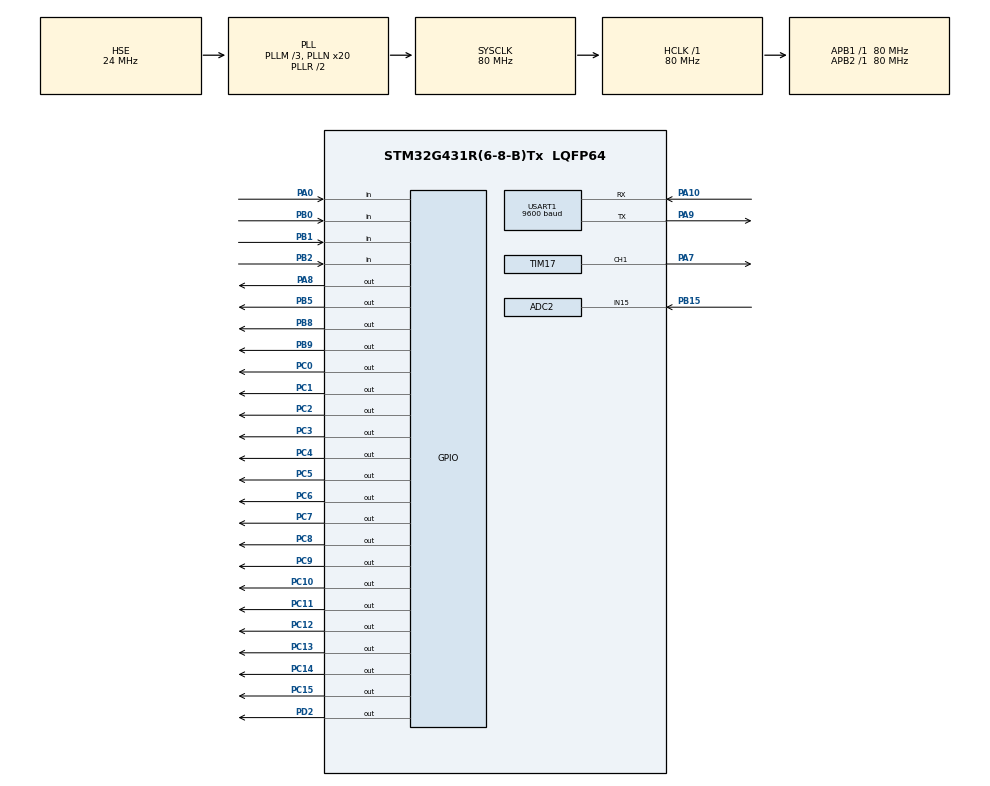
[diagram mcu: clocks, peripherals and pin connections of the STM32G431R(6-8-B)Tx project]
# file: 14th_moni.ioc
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ADC2.Channel-0\#ChannelRegularConversion=ADC_CHANNEL_15
ADC2.NbrOfConversionFlag=1
ADC2.OffsetNumber-0\#ChannelRegularConversion=ADC_OFFSET_NONE
ADC2.Rank-0\#ChannelRegularConversion=1
ADC2.SamplingTime-0\#ChannelRegularConversion=ADC_SAMPLETIME_2CYCLES_5
Mcu.Family=STM32G4
Mcu.Name=STM32G431R(6-8-B)Tx
Mcu.Package=LQFP64
NVIC.PriorityGroup=NVIC_PRIORITYGROUP_4
NVIC.TIM4_IRQn=true\:0\:0\:false\:false\:true\:true\:true\:true
NVIC.USART1_IRQn=true\:0\:0\:false\:false\:true\:true\:true\:true
PA0.GPIO_PuPd=GPIO_PULLUP
PA0.Signal=GPIO_Input
PA10.Mode=Asynchronous
PA10.Signal=USART1_RX
PA13.Mode=Serial_Wire
PA13.Signal=SYS_JTMS-SWDIO
PA14.Mode=Serial_Wire
PA14.Signal=SYS_JTCK-SWCLK
PA7.Signal=S_TIM17_CH1
PA8.Signal=GPIO_Output
PA9.Mode=Asynchronous
PA9.Signal=USART1_TX
PB0.GPIO_PuPd=GPIO_PULLUP
PB0.Signal=GPIO_Input
PB1.GPIO_PuPd=GPIO_PULLUP
PB1.Signal=GPIO_Input
PB15.Mode=IN15-Single-Ended
PB15.Signal=ADC2_IN15
PB2.GPIO_PuPd=GPIO_PULLUP
PB2.Signal=GPIO_Input
PB5.Signal=GPIO_Output
PB8-BOOT0.Signal=GPIO_Output
PB9.Signal=GPIO_Output
PC0.Signal=GPIO_Output
PC1.Signal=GPIO_Output
PC10.PinState=GPIO_PIN_SET
PC10.Signal=GPIO_Output
PC11.PinState=GPIO_PIN_SET
PC11.Signal=GPIO_Output
PC12.PinState=GPIO_PIN_SET
PC12.Signal=GPIO_Output
PC13.PinState=GPIO_PIN_SET
PC13.Signal=GPIO_Output
PC14-OSC32_IN.PinState=GPIO_PIN_SET
PC14-OSC32_IN.Signal=GPIO_Output
PC15-OSC32_OUT.PinState=GPIO_PIN_SET
PC15-OSC32_OUT.Signal=GPIO_Output
PC2.Signal=GPIO_Output
PC3.Signal=GPIO_Output
PC4.Signal=GPIO_Output
PC5.Signal=GPIO_Output
PC6.Signal=GPIO_Output
PC7.Signal=GPIO_Output
PC8.PinState=GPIO_PIN_SET
PC8.Signal=GPIO_Output
PC9.PinState=GPIO_PIN_SET
PC9.Signal=GPIO_Output
PD2.Signal=GPIO_Output
PF0-OSC_IN.Mode=HSE-External-Oscillator
PF0-OSC_IN.Signal=RCC_OSC_IN
PF1-OSC_OUT.Mode=HSE-External-Oscillator
PF1-OSC_OUT.Signal=RCC_OSC_OUT
ProjectManager.HeapSize=0x200
ProjectManager.StackSize=0x400
ProjectManager.TargetToolchain=MDK-ARM V5.32
RCC.ADC12Freq_Value=80000000
RCC.AHBFreq_Value=80000000
RCC.APB1Freq_Value=80000000
RCC.APB1TimFreq_Value=80000000
RCC.APB2Freq_Value=80000000
RCC.APB2TimFreq_Value=80000000
RCC.CortexFreq_Value=80000000
RCC.EXTERNAL_CLOCK_VALUE=12288000
RCC.HCLKFreq_Value=80000000
RCC.HSE_VALUE=24000000
RCC.HSI48_VALUE=48000000
RCC.HSI_VALUE=16000000
RCC.LSE_VALUE=32768
RCC.PLLM=RCC_PLLM_DIV3
RCC.PLLN=20
RCC.PLLSourceVirtual=RCC_PLLSOURCE_HSE
RCC.SYSCLKFreq_VALUE=80000000
RCC.SYSCLKSource=RCC_SYSCLKSOURCE_PLLCLK
RCC.USBFreq_Value=80000000
RCC.VCOOutputFreq_Value=160000000
SH.S_TIM17_CH1.0=TIM17_CH1,PWM Generation1 CH1
TIM17.Channel=TIM_CHANNEL_1
TIM17.PeriodNoDither=100-1
TIM17.Prescaler=800-1
TIM17.PulseNoDither_1=10
TIM4.PeriodNoDither=10000-1
TIM4.Prescaler=80-1
USART1.BaudRate=9600
USART1.VirtualMode-Asynchronous=VM_ASYNC
VP_SYS_VS_DBSignals.Mode=DisableDeadBatterySignals
VP_TIM17_VS_ClockSourceINT.Mode=Enable_Timer
VP_TIM4_VS_ClockSourceINT.Mode=Internal
board=custom

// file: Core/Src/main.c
/* USER CODE BEGIN Header */
/**
  ******************************************************************************
  * @file           : main.c
  * @brief          : Main program body
  ******************************************************************************
  * @attention
  *
  * Copyright (c) 2024 STMicroelectronics.
  * All rights reserved.
  *
  * This software is licensed under terms that can be found in the LICENSE file
  * in the root directory of this software component.
  * If no LICENSE file comes with this software, it is provided AS-IS.
  *
  ******************************************************************************
  */
/* USER CODE END Header */
#include "main.h"
#include "adc.h"
#include "tim.h"
#include "usart.h"
#include "gpio.h"

/* USER CODE BEGIN Includes */

#include "stdio.h"
#include "string.h"
#include "led.h"
#include "lcd.h"
#include "myadc.h"
#include "myusart.h"
#include "timer.h"

/* USER CODE END Includes */

/* USER CODE BEGIN PTD */

__IO uint32_t uwTick_Lcd;
__IO uint32_t uwTick_Led;

unsigned char ucled=0x00;
unsigned char lcd_text[30];
unsigned char usart_text[10];

double VR37;//电位器R37输出的模拟电压信号VR37
double temp_v=0.3;
unsigned int frq_pa7=1000;

unsigned char view=0;
unsigned char flag=0;
unsigned int duty_pa7=10;//pa7的占空比

unsigned char led3_flag=0;

/* USER CODE END PTD */

void SystemClock_Config(void);
/* USER CODE BEGIN PFP */
void lcd_proc(void);
void key_proc(void);
void usart_proc(void);
void led_proc(void);

/* USER CODE END PFP */

int main(void)
{

  /* MCU Configuration--------------------------------------------------------*/

  /* Reset of all peripherals, Initializes the Flash interface and the Systick. */
  HAL_Init();

  /* Configure the system clock */
  SystemClock_Config();

  /* Initialize all configured peripherals */
  MX_GPIO_Init();
  MX_ADC2_Init();
  MX_TIM4_Init();
  MX_TIM17_Init();
  MX_USART1_UART_Init();
  /* USER CODE BEGIN 2 */
    led_disp(ucled);

    LCD_Init();
    LCD_Clear(Black);
    LCD_SetBackColor(Black);
    LCD_SetTextColor(White);

    HAL_TIM_Base_Start_IT(&htim4);

    HAL_TIM_PWM_Start(&htim17,TIM_CHANNEL_1);

   HAL_UART_Receive_IT(&huart1,&rxdat,1);

  /* USER CODE END 2 */

  /* Infinite loop */
  while (1)
  {

    /* USER CODE BEGIN 3 */
      key_proc();
      lcd_proc();
      led_proc();
      if(rx_pointer!=0)
      {
          int temp=rx_pointer;
          HAL_Delay(5);////延时两个毫秒，如果没有接收完成，中断回调函数会改变rxPoint的值，导致len！=rxPoint
          if(temp==rx_pointer)
          {
             usart_proc();
          }
      }
  }
  /* USER CODE END 3 */
}

void SystemClock_Config(void)
{
  RCC_OscInitTypeDef RCC_OscInitStruct = {0};
  RCC_ClkInitTypeDef RCC_ClkInitStruct = {0};

  /** Configure the main internal regulator output voltage
  */
  HAL_PWREx_ControlVoltageScaling(PWR_REGULATOR_VOLTAGE_SCALE1);

  /** Initializes the RCC Oscillators according to the specified parameters
  * in the RCC_OscInitTypeDef structure.
  */
  RCC_OscInitStruct.OscillatorType = RCC_OSCILLATORTYPE_HSE;
  RCC_OscInitStruct.HSEState = RCC_HSE_ON;
  RCC_OscInitStruct.PLL.PLLState = RCC_PLL_ON;
  RCC_OscInitStruct.PLL.PLLSource = RCC_PLLSOURCE_HSE;
  RCC_OscInitStruct.PLL.PLLM = RCC_PLLM_DIV3;
  RCC_OscInitStruct.PLL.PLLN = 20;
  RCC_OscInitStruct.PLL.PLLP = RCC_PLLP_DIV2;
  RCC_OscInitStruct.PLL.PLLQ = RCC_PLLQ_DIV2;
  RCC_OscInitStruct.PLL.PLLR = RCC_PLLR_DIV2;
  if (HAL_RCC_OscConfig(&RCC_OscInitStruct) != HAL_OK)
  {
    Error_Handler();
  }

  /** Initializes the CPU, AHB and APB buses clocks
  */
  RCC_ClkInitStruct.ClockType = RCC_CLOCKTYPE_HCLK|RCC_CLOCKTYPE_SYSCLK
                              |RCC_CLOCKTYPE_PCLK1|RCC_CLOCKTYPE_PCLK2;
  RCC_ClkInitStruct.SYSCLKSource = RCC_SYSCLKSOURCE_PLLCLK;
  RCC_ClkInitStruct.AHBCLKDivider = RCC_SYSCLK_DIV1;
  RCC_ClkInitStruct.APB1CLKDivider = RCC_HCLK_DIV1;
  RCC_ClkInitStruct.APB2CLKDivider = RCC_HCLK_DIV1;

  if (HAL_RCC_ClockConfig(&RCC_ClkInitStruct, FLASH_LATENCY_2) != HAL_OK)
  {
    Error_Handler();
  }
}

/* USER CODE BEGIN 4 */

void lcd_proc(void)
{
    if((uwTick-uwTick_Lcd)<100)return;
    uwTick_Lcd=uwTick;

    VR37=get_Adc(&hadc2);

    if(VR37>temp_v)led3_flag=1;

    switch(view)
    {
        case 0:
            memset(lcd_text,0,sizeof(lcd_text));
            sprintf((char *)lcd_text,"        DATA          ");
            LCD_DisplayStringLine(Line1,lcd_text);
            memset(lcd_text,0,sizeof(lcd_text));
            sprintf((char *)lcd_text,"      VR37:%0.2f         ",VR37);
            LCD_DisplayStringLine(Line3,lcd_text);
            memset(lcd_text,0,sizeof(lcd_text));
            sprintf((char *)lcd_text,"      PA7:%dHZ          ",frq_pa7);
            LCD_DisplayStringLine(Line4,lcd_text);

            break;
        case 1:
            memset(lcd_text,0,sizeof(lcd_text));
            sprintf((char *)lcd_text,"        PARA          ");
            LCD_DisplayStringLine(Line1,lcd_text);
            memset(lcd_text,0,sizeof(lcd_text));
            sprintf((char *)lcd_text,"      VP1:%0.2f         ",temp_v);
            LCD_DisplayStringLine(Line3,lcd_text);
            break;
    }

}

void key_proc(void)
{
    //PSC:预分频系数，arr:重装载值
   //PA7的频率
    //frq_pa=80000000/((TIM17->PSC+1)*(TIM17->ARR+1));

    if(1==key[0].single_flag)//切换按键
    {
        key[0].single_flag=0;
        view++;
        if(view==2)view=0;
        LCD_Clear(Black);
    }
    else if(1==key[1].single_flag)//电压参数调整
    {
        key[1].single_flag=0;
        if(1==view)
          {
              temp_v+=0.3;
              if(temp_v>3.3)temp_v=0;
          }

    }
    else if(1==key[2].single_flag)//频率调整
    {
        key[2].single_flag=0;
        if(0==view)
        {

            frq_pa7+=1000;
            if(frq_pa7>=11000)frq_pa7=1000;

            //调整重载载值
            //htim是一个指向定时器句柄的指针，Autoreload是重装载值。
            //频率=80MZ/（预分频系数+1）/（重装载值+1）
            __HAL_TIM_SetAutoreload(&htim17,(80000000.0/frq_pa7/(TIM17->PSC+1))-1);
            //刷新定时器的计数器和比较器的值
            HAL_TIM_GenerateEvent(&htim17,TIM_EventSource_Update);
            //调整占空比
            //占空比=比较值/重装载值
            __HAL_TIM_SetCompare(&htim17,TIM_CHANNEL_1,(duty_pa7/100.0*TIM17->ARR));

        }
    }
    else if(1==key[3].single_flag)
    {
        key[3].single_flag=0;
    }
}

void usart_proc(void)
{
    if(rx_pointer!=0)
    {

        if(rxdata[0]>='1'&&rxdata[0]<='9'&&rx_pointer==1)
           {
               duty_pa7=(rxdata[0]-'0')*10;
              //修改占空比
               //占空比=比较值/重装载值
               __HAL_TIM_SetCompare(&htim17,TIM_CHANNEL_1,(duty_pa7/100.0)*(TIM17->ARR+1));
          }
        else
        {

           memset(usart_text,0,sizeof(usart_text));
           sprintf((char *)usart_text,"error\r\n");
           HAL_UART_Transmit(&huart1,usart_text,sizeof(usart_text),50);
        }

        rx_pointer=0;
        memset(rxdata,0,sizeof(rxdata));
    }
}

void led_proc(void)
{
    if((uwTick-uwTick_Led)<50)return;
    uwTick_Led=uwTick;

    if(0==view)
    {
        ucled|=0x01;
    }
    else
    {
        ucled&=0xfe;
    }
    if(1==view)
    {
        ucled|=0x02;
    }
    else
    {
        ucled&=0xfd;
    }
    led_disp(ucled);
}

/* USER CODE END 4 */

void Error_Handler(void)
{
  __disable_irq();
  while (1)
  {
  }
}
